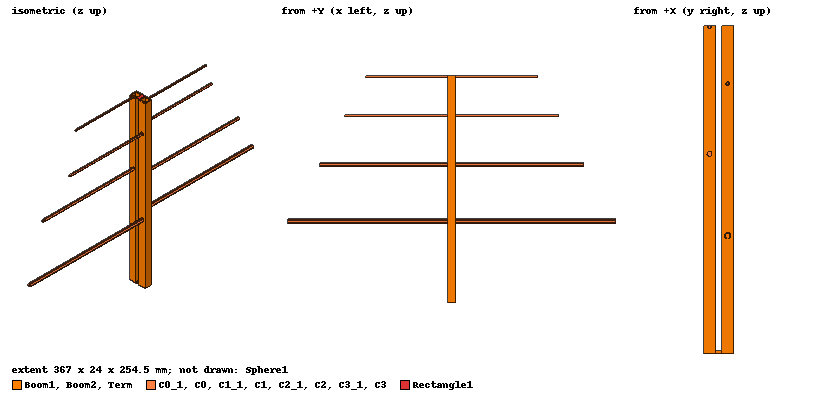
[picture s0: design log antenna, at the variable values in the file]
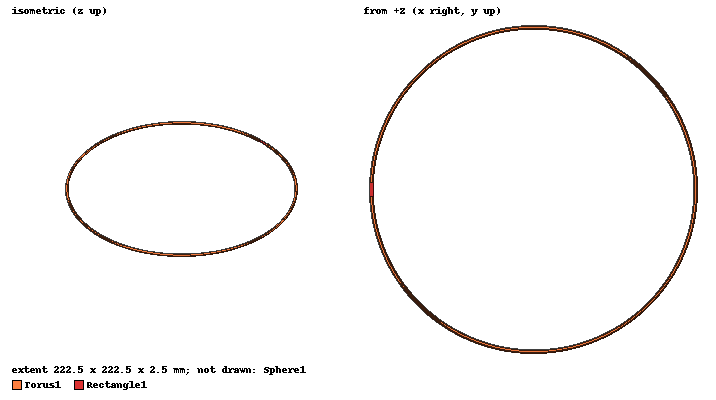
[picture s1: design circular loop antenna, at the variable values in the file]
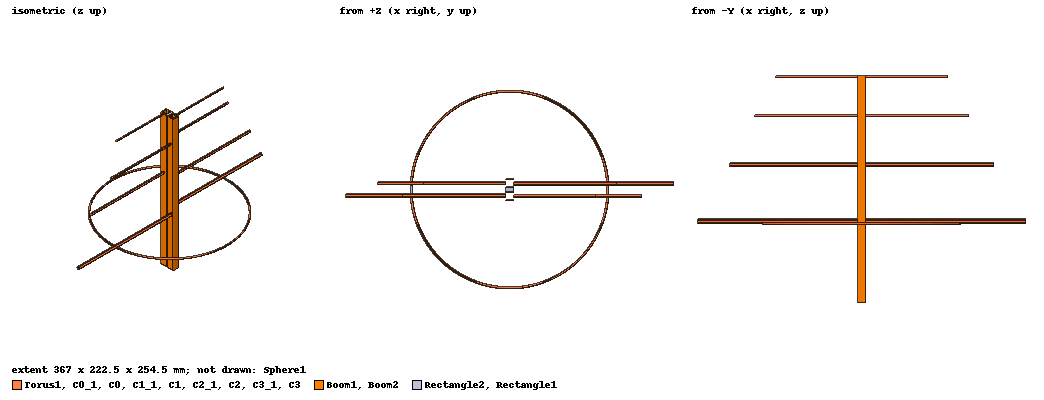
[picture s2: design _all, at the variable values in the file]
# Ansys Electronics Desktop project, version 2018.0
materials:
  brass: conductivity=15000000
  copper: permeability=0.999991 conductivity=58000000
  vacuum: permittivity=1

design log antenna (HFSS, DrivenModal, model units mm)
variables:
  Frequence = 434MHz
  LzTerm = 0.089*1000mm
  Cyl_vol = 0.5mm
  Boom_Vol = 2mm
  Boom_W = 10mm
  Boom_L = 10mm
  spacer = 4mm
  Sigma = 0.095
  T = 0.8
  R3 = 1.25mm
  L0 = 357mm
  L1 = T*L0
  L3 = T*L2
  L2 = T*L1
  Lambda0 = 2*L0
  Lambda1 = 2*L1
  Lambda2 = 2*L2
  Lambda3 = 2*L3
  D0 = Sigma*Lambda0
  D1 = Sigma*Lambda1+D0
  D2 = Sigma*Lambda2+D1
  D3 = D2+LzTerm
  Boom_H = D3
  R0 = R1/T
  R1 = R2/T
  R2 = R3/T
  c = 299792458
  wawlength = c/Frequence
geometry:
  Boom1 [brass] = box(corner=(-Boom_W/2, spacer/2, -LZterm), size=(Boom_W, Boom_L, Boom_H))
  Boom2 [brass] = box(corner=(-Boom_W/2, -(spacer/2+Boom_L), -LzTerm), size=(Boom_W, Boom_L, Boom_H))
  C0 [brass] = cylinder(axis=X, base_centre=(Boom_W/2, spacer/2+Boom_L/2, R0), radius=R0, height=L0/2)
  C1 [brass] = cylinder(axis=X, base_centre=(Boom_W/2, -(spacer/2+Boom_L/2), D0-R1), radius=R1, height=L1/2)
  C2 [brass] = cylinder(axis=X, base_centre=(Boom_W/2, spacer/2+Boom_L/2, D1-R2), radius=R2, height=L2/2)
  C3 [brass] = cylinder(axis=X, base_centre=(Boom_W/2, -(spacer/2+Boom_L/2), D2-R3), radius=R3, height=L3/2)
  Boom1_1 = box(corner=(-Boom_W/2+Boom_Vol/2, spacer/2+Boom_Vol/2, -LzTerm), size=(Boom_W-Boom_Vol, Boom_L-2mm, Boom_H))
  Boom2_1 = box(corner=(-Boom_W/2+Boom_Vol/2, -(spacer/2+Boom_L-Boom_Vol/2), -LzTerm), size=(Boom_W-Boom_Vol, Boom_L-Boom_Vol, Boom_H))
  C01 = cylinder(axis=X, base_centre=(Boom_W/2, spacer/2+Boom_L/2, R0), radius=R0-Cyl_vol, height=L0/2)
  C0.subtract(C01)
  C11 = cylinder(axis=X, base_centre=(Boom_W/2, spacer/2+Boom_L/2, D0-R1), radius=R1-Cyl_vol, height=L1/2)
  C1.subtract(C11)
  C21 = cylinder(axis=X, base_centre=(Boom_W/2, spacer/2+Boom_L/2, D1-R2), radius=R2-Cyl_vol, height=L2/2)
  C2.subtract(C21)
  C31 = cylinder(axis=X, base_centre=(Boom_W/2, spacer/2+Boom_L/2, D2-R3), radius=R3-Cyl_vol, height=L3/2)
  C3.subtract(C31)
  Term [brass] = box(corner=(-4mm, -spacer/2, -LzTerm), size=(8mm, spacer, 2mm))
  Boom2.subtract(Boom2_1)
  Boom1.subtract(Boom1_1)
  C3_1 [brass] = C3.duplicate_around_axis(axis=Z, angle=180deg, total=2)
  C2_1 [brass] = C2.duplicate_around_axis(axis=Z, angle=180deg, total=2)
  C1_1 [brass] = C1.duplicate_around_axis(axis=Z, angle=180deg, total=2)
  C0_1 [brass] = C0.duplicate_around_axis(axis=Z, angle=180deg, total=2)
  Rectangle1 = rectangle(corner=(-Boom_W/2, spacer/2, D2), x_size=Boom_L, y_size=-spacer)
  Sphere1 [vacuum] = sphere(centre=(0mm, 0mm, 0mm), radius=sqrt((2*wawlength)/pi))
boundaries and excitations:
  Rad1: Radiation Objects=Sphere1
  1: Lumped Port Objects=Rectangle1 Modes{Mode1{IntLine{middle of Rectangle1.edge(y opposite corner) -> middle of Rectangle1.edge(y at corner)} CharImp=Zpi RenormImp=100ohm}} Impedance=50ohm
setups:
  Setup1: HfssDriven Frequency=434MHz MaxDeltaS=0.02 MaximumPasses=20 MinimumPasses=3 MinimumConvergedPasses=1 PercentRefinement=30 BasisOrder=1 PortAccuracy=2
    sweep Sweep: 420MHz to 450MHz, 31 points; Type=Interpolating InterpTolerance=0.5 InterpMaxSolns=250 InterpUsePortImped=false PassivityErrorTolerance=0.0001
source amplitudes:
  1:1: 1W 0deg
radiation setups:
  Infinite Sphere1: Infinite Sphere Theta=0deg..180deg step 2deg Phi=-180deg..180deg step 2deg
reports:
  rE Plot 1: rETotal vs Phi, Theta on Setup1 : LastAdaptive, Infinite Sphere1 [Freq=0.434GHz]
  Z Parameter Plot 1: re(Z(1,1)), im(Z(1,1)) vs Freq on Setup1 : Sweep; markers m1 at 434MHz, m2 at 434MHz
  S Parameter Plot 1: dB(S(1,1)) vs Freq on Setup1 : Sweep

design circular loop antenna (HFSS, DrivenModal, model units mm)
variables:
  majRad = Lambda/(2*pi)
  minRad = 1.25mm
  rad = 2*minRad
  H = 10mm
  Frequ = 434MHz
  Lambda = c/Frequ
  c = 300000000m_per_sec
  Frequence = 434MHz
  wawlength = c/Frequence
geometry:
  Torus1 [copper] = torus(axis=Z, centre=(0mm, 0mm, 0mm), major_radius=majRad, minor_radius=minRad)
  Cylinder1 = cylinder(axis=Y, base_centre=(-majRad, -H/2, 0mm), radius=rad, height=H)
  Torus1.subtract(Cylinder1)
  Rectangle1 = rectangle(corner=(-majRad-rad/2, -H/2, 0mm), x_size=rad, y_size=H)
  Sphere1 [vacuum] = sphere(centre=(0mm, 0mm, 0mm), radius=sqrt((2*lambda)/pi))
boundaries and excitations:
  Rad2: Radiation Objects=Sphere1
  1: Lumped Port Objects=Rectangle1 Modes{Mode1{IntLine{middle of Rectangle1.edge(y at corner) -> Rectangle1.edge(y opposite corner) at 0.499 along} CharImp=Zpi RenormImp=50ohm}} Impedance=50ohm
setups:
  Setup1: HfssDriven Frequency=434MHz MaxDeltaS=0.02 MaximumPasses=20 MinimumPasses=3 MinimumConvergedPasses=1 PercentRefinement=30 BasisOrder=1 PortAccuracy=2
    sweep Sweep: 420MHz to 450MHz, 31 points; Type=Interpolating InterpTolerance=0.5 InterpMaxSolns=250 InterpUsePortImped=false PassivityErrorTolerance=0.0001
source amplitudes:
  1:1: 1W 0deg
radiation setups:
  Infinite Sphere1: Infinite Sphere Theta=0deg..180deg step 2deg Phi=-180deg..180deg step 2deg
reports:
  rE Plot 1: rETotal vs Phi, Theta on Setup1 : LastAdaptive, Infinite Sphere1 [Freq=0.434GHz]
  Z Parameter Plot 1: re(Z(1,1)), im(Z(1,1)) vs Freq on Setup1 : Sweep; markers m1 at 434MHz, m2 at 434MHz
  S Parameter Plot 1: dB(S(1,1)) vs Freq on Setup1 : Sweep; markers m1 at 434MHz

design _all (HFSS, DrivenModal, model units mm)
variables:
  rad = 2*minRad
  H = 10mm
  Frequ = 434MHz
  c = 300000000m_per_sec
  Lambda = c/Frequ
  minRad = 1.25mm
  majRad = Lambda/(2*pi)
  T = 0.8
  L1 = T*L0
  D2 = Sigma*Lambda2+D1
  LzTerm = 0.089*1000mm
  Boom_Vol = 2mm
  Boom_W = 10mm
  spacer = 4mm
  L0 = 357mm
  Sigma = 0.095
  L2 = T*L1
  Lambda0 = 2*L0
  Boom_L = 10mm
  Lambda1 = 2*L1
  Lambda2 = 2*L2
  D3 = D2+LzTerm
  Boom_H = D3
  D0 = Sigma*Lambda0
  D1 = Sigma*Lambda1+D0
  Cyl_vol = 0.5mm
  R3 = 1.25mm
  R0 = R1/T
  R1 = R2/T
  R2 = R3/T
  L3 = T*L2
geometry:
  Torus1 [copper] = torus(axis=Z, centre=(0mm, 0mm, 0mm), major_radius=majRad, minor_radius=minRad)
  Cylinder1 = cylinder(axis=Y, base_centre=(-majRad, -H/2, 0mm), radius=rad, height=H)
  Torus1.subtract(Cylinder1)
  Rectangle1 = rectangle(corner=(-majRad-rad/2, -H/2, 0mm), x_size=rad, y_size=H)
  Boom1 [brass] = box(corner=(-Boom_W/2, spacer/2, -LZterm), size=(Boom_W, Boom_L, Boom_H))
  Boom1_1 = box(corner=(-Boom_W/2+Boom_Vol/2, spacer/2+Boom_Vol/2, -LzTerm), size=(Boom_W-Boom_Vol, Boom_L-2mm, Boom_H))
  Boom1.subtract(Boom1_1)
  Boom2 [brass] = box(corner=(-Boom_W/2, -(spacer/2+Boom_L), -LzTerm), size=(Boom_W, Boom_L, Boom_H))
  Boom2_1 = box(corner=(-Boom_W/2+Boom_Vol/2, -(spacer/2+Boom_L-Boom_Vol/2), -LzTerm), size=(Boom_W-Boom_Vol, Boom_L-Boom_Vol, Boom_H))
  Boom2.subtract(Boom2_1)
  C0 [brass] = cylinder(axis=X, base_centre=(Boom_W/2, spacer/2+Boom_L/2, R0), radius=R0, height=L0/2)
  C01 = cylinder(axis=X, base_centre=(Boom_W/2, spacer/2+Boom_L/2, R0), radius=R0-Cyl_vol, height=L0/2)
  C0.subtract(C01)
  C0_1 [brass] = C0.duplicate_around_axis(axis=Z, angle=180deg, total=2)
  C1 [brass] = cylinder(axis=X, base_centre=(Boom_W/2, -(spacer/2+Boom_L/2), D0-R1), radius=R1, height=L1/2)
  C11 = cylinder(axis=X, base_centre=(Boom_W/2, spacer/2+Boom_L/2, D0-R1), radius=R1-Cyl_vol, height=L1/2)
  C1.subtract(C11)
  C1_1 [brass] = C1.duplicate_around_axis(axis=Z, angle=180deg, total=2)
  C2 [brass] = cylinder(axis=X, base_centre=(Boom_W/2, spacer/2+Boom_L/2, D1-R2), radius=R2, height=L2/2)
  C21 = cylinder(axis=X, base_centre=(Boom_W/2, spacer/2+Boom_L/2, D1-R2), radius=R2-Cyl_vol, height=L2/2)
  C2.subtract(C21)
  C2_1 [brass] = C2.duplicate_around_axis(axis=Z, angle=180deg, total=2)
  C3 [brass] = cylinder(axis=X, base_centre=(Boom_W/2, -(spacer/2+Boom_L/2), D2-R3), radius=R3, height=L3/2)
  C31 = cylinder(axis=X, base_centre=(Boom_W/2, spacer/2+Boom_L/2, D2-R3), radius=R3-Cyl_vol, height=L3/2)
  C3.subtract(C31)
  C3_1 [brass] = C3.duplicate_around_axis(axis=Z, angle=180deg, total=2)
  Term [brass] = box(corner=(-4mm, -spacer/2, -LzTerm), size=(8mm, spacer, 2mm))
  Rectangle2 = rectangle(corner=(-Boom_W/2, spacer/2, D2), x_size=Boom_L, y_size=-spacer)
  Sphere1 [vacuum] = sphere(centre=(0mm, 0mm, 0mm), radius=sqrt((2*lambda)/pi))
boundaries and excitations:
  Rad1: Radiation Objects=Sphere1
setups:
  Setup1: HfssDriven Frequency=434MHz MaxDeltaE=0.1 MaximumPasses=20 MinimumPasses=3 MinimumConvergedPasses=1 PercentRefinement=30 BasisOrder=1
    sweep Sweep: 420MHz to 450MHz, 31 points; Type=Interpolating InterpTolerance=0.5 InterpMaxSolns=250 InterpUsePortImped=false InterpUsePropConst=false PassivityErrorTolerance=0.0001
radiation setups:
  Infinite Sphere1: Infinite Sphere Theta=0deg..180deg step 2deg Phi=-180deg..180deg step 2deg
